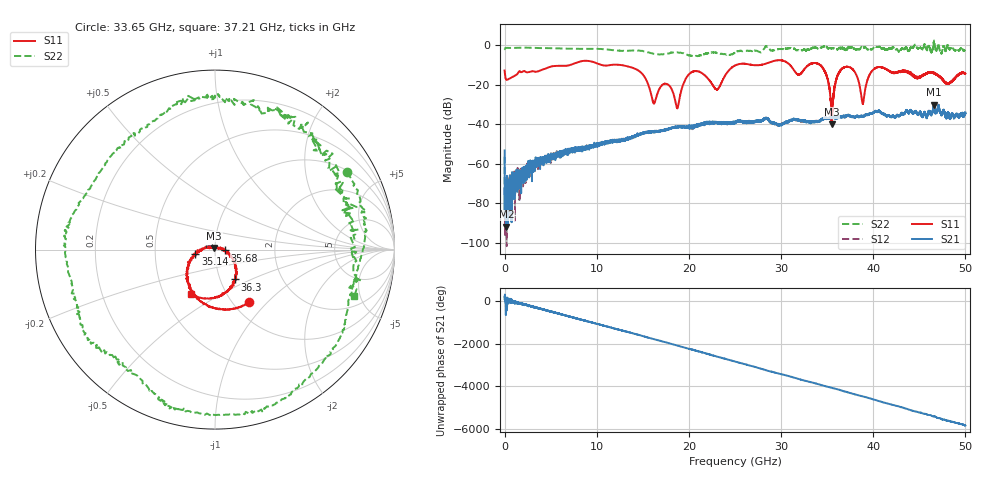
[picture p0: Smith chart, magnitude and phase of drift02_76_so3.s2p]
!Created with skrf (http://scikit-rf.org).
# Hz S RI R 50.0
!freq ReS11 ImS11 ReS21 ImS21 ReS12 ImS12 ReS22 ImS22
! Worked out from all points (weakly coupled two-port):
!   10001 points, 300 kHz to 50 GHz, reference 50 ohm
!   highest |S21| = -30.14 dB at 46.59 GHz (marker M1); lowest = -92.0 dB at 190.3 MHz (marker M2)
!   lowest |S11| = -40.1 dB at 35.49 GHz (marker M3), VSWR 1.02, Z = 49.6 + j0.905 ohm
!   |S11| at or under -10 dB: start of sweep to 7.178 GHz; 12.41 GHz to 25.18 GHz (12.77 GHz wide, 68 % of centre); 34.22 GHz to end of sweep (the widest 3 of 24)
!   |S22| runs from -5.7 to 2.3 dB; largest |S21 - S12| = 0.0037
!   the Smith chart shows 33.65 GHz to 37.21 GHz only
!   S11 on the Smith chart (normalised r, x): 33.65 GHz: 1.19, -0.80; 35.14 GHz: 0.80, -0.04; 35.68 GHz: 1.11, -0.01; 36.3 GHz: 1.17, -0.41; 37.21 GHz: 0.68, -0.37
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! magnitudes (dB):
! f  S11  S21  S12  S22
! 300 kHz  -12.9  -53.4  -56.5  -2.1
! 190.3 MHz  -17.6  -92.0  -73.1  -1.4
! 8.335 GHz  -8.2  -52.3  -52.0  -1.9
! 14.03 GHz  -11.8  -46.4  -46.4  -2.8
! 16.67 GHz  -23.4  -43.6  -43.8  -4.7
! 17.72 GHz  -20.0  -42.6  -42.6  -4.3
! 18.74 GHz  -32.0  -41.3  -41.7  -3.7
! 20.24 GHz  -13.9  -41.2  -41.3  -5.5
! 23.04 GHz  -22.6  -38.9  -39.3  -4.1
! 25 GHz  -10.4  -39.1  -39.3  -3.8
! 33.34 GHz  -9.3  -39.0  -38.8  -1.6
! 33.65 GHz  -9.1  -39.0  -38.7  -1.4
! 35.14 GHz  -19.0  -37.3  -37.2  -1.8
! 35.49 GHz  -40.1  -36.9  -36.7  -1.7
! 35.68 GHz  -25.3  -36.9  -36.7  -1.5
! 36.3 GHz  -14.0  -36.3  -36.3  -1.4
! 37.21 GHz  -11.0  -35.5  -35.5  -1.7
! 38.86 GHz  -29.9  -36.1  -36.0  -1.3
! 39.96 GHz  -12.7  -34.3  -34.6  -1.9
! 41.67 GHz  -13.0  -35.5  -35.7  -1.9
! 46.59 GHz  -14.3  -30.1  -30.5  2.1
! 50 GHz  -14.5  -34.2  -34.4  -2.7
